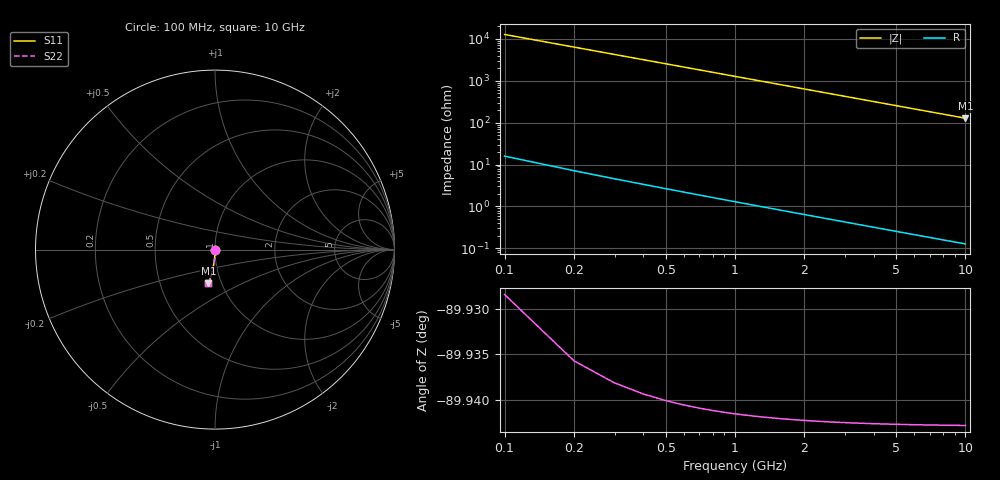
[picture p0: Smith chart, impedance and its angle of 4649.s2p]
# Hz S RI R 50.00
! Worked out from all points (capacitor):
!   100 points, 100 MHz to 10 GHz, reference 50 ohm
!   read as one part in shunt: C = 125 fF near 100 MHz
!   lowest |Z| = 128 ohm at 10 GHz (marker M1)
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1e8  -3.82e-06 -0.00196  1 -0.00197  1 -0.00197  -3.82e-06 -0.00196
2e8  -1.73e-05 -0.00392  1 -0.00393  1 -0.00393  -1.73e-05 -0.00392
3e8  -3.85e-05 -0.00588  1 -0.0059  1 -0.0059  -3.85e-05 -0.00588
4e8  -6.74e-05 -0.00784  0.9999 -0.00787  0.9999 -0.00787  -6.74e-05 -0.00784
5e8  -0.000104 -0.0098  0.9999 -0.00983  0.9999 -0.00983  -0.000104 -0.0098
6e8  -0.000148 -0.0118  0.9998 -0.0118  0.9998 -0.0118  -0.000148 -0.0118
7e8  -0.0002 -0.0137  0.9998 -0.0138  0.9998 -0.0138  -0.0002 -0.0137
8e8  -0.00026 -0.0157  0.9997 -0.0157  0.9997 -0.0157  -0.00026 -0.0157
9e8  -0.000327 -0.0176  0.9997 -0.0177  0.9997 -0.0177  -0.000327 -0.0176
1.1e9  -0.000485 -0.0215  0.9995 -0.0216  0.9995 -0.0216  -0.000485 -0.0215
1.4e9  -0.00078 -0.0274  0.9992 -0.0275  0.9992 -0.0275  -0.00078 -0.0274
1.8e9  -0.00128 -0.0352  0.9987 -0.0353  0.9987 -0.0353  -0.00128 -0.0352
2.1e9  -0.00173 -0.0411  0.9983 -0.0412  0.9983 -0.0412  -0.00173 -0.0411
2.5e9  -0.00245 -0.0488  0.9975 -0.049  0.9975 -0.049  -0.00245 -0.0488
2.9e9  -0.00328 -0.0566  0.9967 -0.0568  0.9967 -0.0568  -0.00328 -0.0566
3.4e9  -0.00449 -0.0662  0.9955 -0.0665  0.9955 -0.0665  -0.00449 -0.0662
4.2e9  -0.00681 -0.0816  0.9932 -0.0819  0.9932 -0.0819  -0.00681 -0.0816
5.1e9  -0.00998 -0.0987  0.99 -0.0991  0.99 -0.0991  -0.00998 -0.0987
5.9e9  -0.0133 -0.1138  0.9867 -0.1142  0.9867 -0.1142  -0.0133 -0.1138
6.7e9  -0.017 -0.1286  0.983 -0.1291  0.983 -0.1291  -0.017 -0.1286
8.4e9  -0.0264 -0.1596  0.9736 -0.1602  0.9736 -0.1602  -0.0264 -0.1596
1e10  -0.0369 -0.1877  0.9631 -0.1885  0.9631 -0.1885  -0.0369 -0.1877
